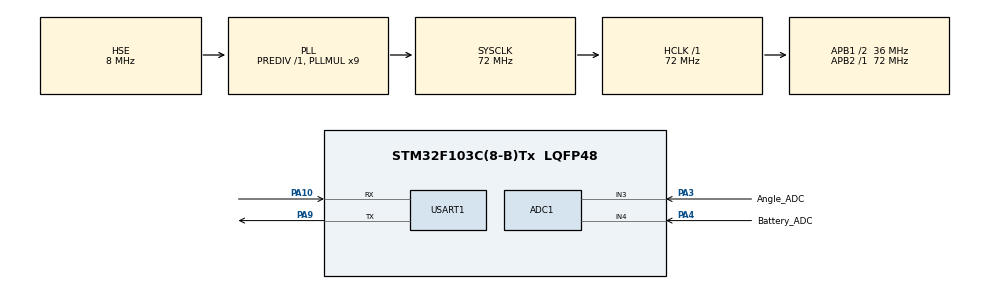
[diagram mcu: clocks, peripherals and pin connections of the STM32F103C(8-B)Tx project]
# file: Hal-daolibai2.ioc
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ADC1.Channel-0\#ChannelRegularConversion=ADC_CHANNEL_3
ADC1.ContinuousConvMode=ENABLE
ADC1.DataAlign=ADC_DATAALIGN_RIGHT
ADC1.DiscontinuousConvMode=DISABLE
ADC1.EnableAnalogWatchDog=false
ADC1.EnableRegularConversion=ENABLE
ADC1.ExternalTrigConv=ADC_SOFTWARE_START
ADC1.InjNumberOfConversion=0
ADC1.NbrOfConversion=1
ADC1.NbrOfConversionFlag=1
ADC1.Rank-0\#ChannelRegularConversion=1
ADC1.SamplingTime-0\#ChannelRegularConversion=ADC_SAMPLETIME_55CYCLES_5
ADC1.ScanConvMode=ADC_SCAN_DISABLE
ADC1.master=1
Dma.ADC1.0.Direction=DMA_PERIPH_TO_MEMORY
Dma.ADC1.0.Instance=DMA1_Channel1
Dma.ADC1.0.MemDataAlignment=DMA_MDATAALIGN_WORD
Dma.ADC1.0.MemInc=DMA_MINC_ENABLE
Dma.ADC1.0.Mode=DMA_CIRCULAR
Dma.ADC1.0.PeriphDataAlignment=DMA_PDATAALIGN_WORD
Dma.ADC1.0.PeriphInc=DMA_PINC_DISABLE
Dma.ADC1.0.Priority=DMA_PRIORITY_HIGH
Dma.Request0=ADC1
Mcu.Family=STM32F1
Mcu.Name=STM32F103C(8-B)Tx
Mcu.Package=LQFP48
NVIC.DMA1_Channel1_IRQn=true\:0\:0\:false\:false\:true\:false
NVIC.PriorityGroup=NVIC_PRIORITYGROUP_4
PA10.Mode=Asynchronous
PA10.Signal=USART1_RX
PA13.Mode=Serial_Wire
PA13.Signal=SYS_JTMS-SWDIO
PA14.Mode=Serial_Wire
PA14.Signal=SYS_JTCK-SWCLK
PA3.GPIO_Label=Angle_ADC
PA3.GPIO_Mode=GPIO_MODE_ANALOG
PA3.Signal=ADCx_IN3
PA4.GPIO_Label=Battery_ADC
PA4.GPIO_Mode=GPIO_MODE_ANALOG
PA4.Signal=ADCx_IN4
PA9.Mode=Asynchronous
PA9.Signal=USART1_TX
PD0-OSC_IN.Mode=HSE-External-Oscillator
PD0-OSC_IN.Signal=RCC_OSC_IN
PD1-OSC_OUT.Mode=HSE-External-Oscillator
PD1-OSC_OUT.Signal=RCC_OSC_OUT
ProjectManager.HeapSize=0x200
ProjectManager.StackSize=0x400
ProjectManager.TargetToolchain=MDK-ARM V5
RCC.ADCPresc=RCC_ADCPCLK2_DIV6
RCC.AHBFreq_Value=72000000
RCC.APB1CLKDivider=RCC_HCLK_DIV2
RCC.APB1Freq_Value=36000000
RCC.APB1TimFreq_Value=72000000
RCC.APB2Freq_Value=72000000
RCC.APB2TimFreq_Value=72000000
RCC.HCLKFreq_Value=72000000
RCC.PLLMUL=RCC_PLL_MUL9
RCC.PLLSourceVirtual=RCC_PLLSOURCE_HSE
RCC.SYSCLKFreq_VALUE=72000000
RCC.SYSCLKSource=RCC_SYSCLKSOURCE_PLLCLK
RCC.USBFreq_Value=72000000
SH.ADCx_IN3.0=ADC1_IN3,IN3
SH.ADCx_IN4.0=ADC1_IN4,IN4
USART1.VirtualMode=VM_ASYNC
board=custom

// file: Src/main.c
/**
  ******************************************************************************
  * @file           : main.c
  * @brief          : Main program body
  ******************************************************************************
  ** This notice applies to any and all portions of this file
  * that are not between comment pairs USER CODE BEGIN and
  * USER CODE END. Other portions of this file, whether
  * inserted by the user or by software development tools
  * are owned by their respective copyright owners.
  *
  * COPYRIGHT(c) 2019 STMicroelectronics
  *
  * Redistribution and use in source and binary forms, with or without modification,
  * are permitted provided that the following conditions are met:
  *   1. Redistributions of source code must retain the above copyright notice,
  *      this list of conditions and the following disclaimer.
  *   2. Redistributions in binary form must reproduce the above copyright notice,
  *      this list of conditions and the following disclaimer in the documentation
  *      and/or other materials provided with the distribution.
  *   3. Neither the name of STMicroelectronics nor the names of its contributors
  *      may be used to endorse or promote products derived from this software
  *      without specific prior written permission.
  *
  * THIS SOFTWARE IS PROVIDED BY THE COPYRIGHT HOLDERS AND CONTRIBUTORS "AS IS"
  * AND ANY EXPRESS OR IMPLIED WARRANTIES, INCLUDING, BUT NOT LIMITED TO, THE
  * IMPLIED WARRANTIES OF MERCHANTABILITY AND FITNESS FOR A PARTICULAR PURPOSE ARE
  * DISCLAIMED. IN NO EVENT SHALL THE COPYRIGHT HOLDER OR CONTRIBUTORS BE LIABLE
  * FOR ANY DIRECT, INDIRECT, INCIDENTAL, SPECIAL, EXEMPLARY, OR CONSEQUENTIAL
  * DAMAGES (INCLUDING, BUT NOT LIMITED TO, PROCUREMENT OF SUBSTITUTE GOODS OR
  * SERVICES; LOSS OF USE, DATA, OR PROFITS; OR BUSINESS INTERRUPTION) HOWEVER
  * CAUSED AND ON ANY THEORY OF LIABILITY, WHETHER IN CONTRACT, STRICT LIABILITY,
  * OR TORT (INCLUDING NEGLIGENCE OR OTHERWISE) ARISING IN ANY WAY OUT OF THE USE
  * OF THIS SOFTWARE, EVEN IF ADVISED OF THE POSSIBILITY OF SUCH DAMAGE.
  *
  ******************************************************************************
  */
#include "main.h"
#include "stm32f1xx_hal.h"
#include "adc.h"
#include "dma.h"
#include "usart.h"
#include "gpio.h"

/* USER CODE BEGIN Includes */

#include "stdio.h"
#ifdef __GNUC__
#define PUTCHAR_PROTOTYPE int __io_putchar(int ch)
#else
#define PUTCHAR_PROTOTYPE int fputc(int ch, FILE *f)
#endif /* __GNUC__ */
PUTCHAR_PROTOTYPE
{
	HAL_UART_Transmit(&huart1 , (uint8_t *)&ch, 1, 0xFFFF);
	return ch;
}

/* USER CODE END Includes */

/* USER CODE BEGIN PV */
/* Private variables ---------------------------------------------------------*/

__IO float ADC_ConvertedValueLocal[ADC_NUMOFCHANNEL];		// 用于保存转换计算后的电压值
uint32_t ADC_ConvertedValue[ADC_NUMOFCHANNEL];					// AD转换结果值
uint32_t DMA_Transfer_Complete_Count=0;
/* USER CODE END PV */

void SystemClock_Config(void);

/* USER CODE BEGIN PFP */
/* Private function prototypes -----------------------------------------------*/

/* USER CODE END PFP */

int main(void)
{

  /* MCU Configuration----------------------------------------------------------*/

  /* Reset of all peripherals, Initializes the Flash interface and the Systick. */
  HAL_Init();

  /* Configure the system clock */
  SystemClock_Config();

  /* Initialize all configured peripherals */
  MX_GPIO_Init();
  MX_DMA_Init();
  MX_ADC1_Init();
  MX_USART1_UART_Init();
  /* USER CODE BEGIN 2 */

  HAL_ADCEx_Calibration_Start(&hadc1);

	printf("----这是一个ADC多通道电压采集实验(DMA传输)------\n");

  /* USER CODE END 2 */

  /* Infinite loop */
  while (1)
  {
		 HAL_Delay(1000);
		ADC_ConvertedValueLocal[0] =(float)(ADC_ConvertedValue[0]&0xFFF)*3.3/4096; // ADC_ConvertedValue[0]只取最低12有效数据
	  ADC_ConvertedValueLocal[1] =(float)(ADC_ConvertedValue[1]&0xFFF)*3.3/4096; // ADC_ConvertedValue[1]只取最低12有效数据

	  printf("CH1_PC0 value = %d -> %fV\n",ADC_ConvertedValue[0]&0xFFF,ADC_ConvertedValueLocal[0]);
    printf("CH2_PC1 value = %d -> %fV\n",ADC_ConvertedValue[1]&0xFFF,ADC_ConvertedValueLocal[1]);

    printf("已经完成AD转换次数：%d\n",DMA_Transfer_Complete_Count);
    DMA_Transfer_Complete_Count=0;
    printf("\n");
  }

}

void SystemClock_Config(void)
{

  RCC_OscInitTypeDef RCC_OscInitStruct;
  RCC_ClkInitTypeDef RCC_ClkInitStruct;
  RCC_PeriphCLKInitTypeDef PeriphClkInit;

    /**Initializes the CPU, AHB and APB busses clocks
    */
  RCC_OscInitStruct.OscillatorType = RCC_OSCILLATORTYPE_HSE;
  RCC_OscInitStruct.HSEState = RCC_HSE_ON;
  RCC_OscInitStruct.HSEPredivValue = RCC_HSE_PREDIV_DIV1;
  RCC_OscInitStruct.HSIState = RCC_HSI_ON;
  RCC_OscInitStruct.PLL.PLLState = RCC_PLL_ON;
  RCC_OscInitStruct.PLL.PLLSource = RCC_PLLSOURCE_HSE;
  RCC_OscInitStruct.PLL.PLLMUL = RCC_PLL_MUL9;
  if (HAL_RCC_OscConfig(&RCC_OscInitStruct) != HAL_OK)
  {
    _Error_Handler(__FILE__, __LINE__);
  }

    /**Initializes the CPU, AHB and APB busses clocks
    */
  RCC_ClkInitStruct.ClockType = RCC_CLOCKTYPE_HCLK|RCC_CLOCKTYPE_SYSCLK
                              |RCC_CLOCKTYPE_PCLK1|RCC_CLOCKTYPE_PCLK2;
  RCC_ClkInitStruct.SYSCLKSource = RCC_SYSCLKSOURCE_PLLCLK;
  RCC_ClkInitStruct.AHBCLKDivider = RCC_SYSCLK_DIV1;
  RCC_ClkInitStruct.APB1CLKDivider = RCC_HCLK_DIV2;
  RCC_ClkInitStruct.APB2CLKDivider = RCC_HCLK_DIV1;

  if (HAL_RCC_ClockConfig(&RCC_ClkInitStruct, FLASH_LATENCY_2) != HAL_OK)
  {
    _Error_Handler(__FILE__, __LINE__);
  }

  PeriphClkInit.PeriphClockSelection = RCC_PERIPHCLK_ADC;
  PeriphClkInit.AdcClockSelection = RCC_ADCPCLK2_DIV6;
  if (HAL_RCCEx_PeriphCLKConfig(&PeriphClkInit) != HAL_OK)
  {
    _Error_Handler(__FILE__, __LINE__);
  }

    /**Configure the Systick interrupt time
    */
  HAL_SYSTICK_Config(HAL_RCC_GetHCLKFreq()/1000);

    /**Configure the Systick
    */
  HAL_SYSTICK_CLKSourceConfig(SYSTICK_CLKSOURCE_HCLK);

  /* SysTick_IRQn interrupt configuration */
  HAL_NVIC_SetPriority(SysTick_IRQn, 0, 0);
}

/* USER CODE BEGIN 4 */

/**
  * 函数功能: ADC转换完成回调函数
  * 输入参数: hadc：ADC外设设备句柄
  * 返 回 值: 无
  * 说    明: 无
  */
void  HAL_ADC_ConvCpltCallback(ADC_HandleTypeDef* hadc)
{
  DMA_Transfer_Complete_Count++;
}

/* USER CODE END 4 */

void _Error_Handler(char *file, int line)
{
  while(1)
  {
  }
}

/************************ (C) COPYRIGHT STMicroelectronics *****END OF FILE****/
